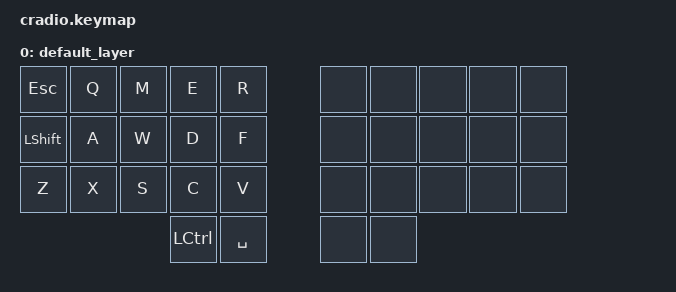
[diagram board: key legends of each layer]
/*
 * Copyright (c) 2020 The ZMK Contributors
 *
 * SPDX-License-Identifier: MIT
 */


#include <behaviors.dtsi>
#include <dt-bindings/zmk/keys.h>
#include <dt-bindings/zmk/bt.h>

#define DEFAULT 0

/ {

behaviors {
    combos {
    compatible = "zmk,combos";
    combo_tab {
        timeout-ms = <50>;
        key-positions = <0 1>;
        bindings = <&kp TAB>;

    };
};

};
        keymap {
                compatible = "zmk,keymap";
                default_layer {
                        bindings = <
   &kp ESC 		&kp Q &kp M &kp E &kp R &none &none &none     	   &none  		&none
   &kp LSHFT 		&kp A &kp W &kp D &kp F &none &none &none		  &none         &none
   &kp Z  &kp X &kp S &kp C &kp V &none &none &none  &none &none
			    &kp LCTRL  &kp SPACE &none &none 
                        >;
                };


        };
};
